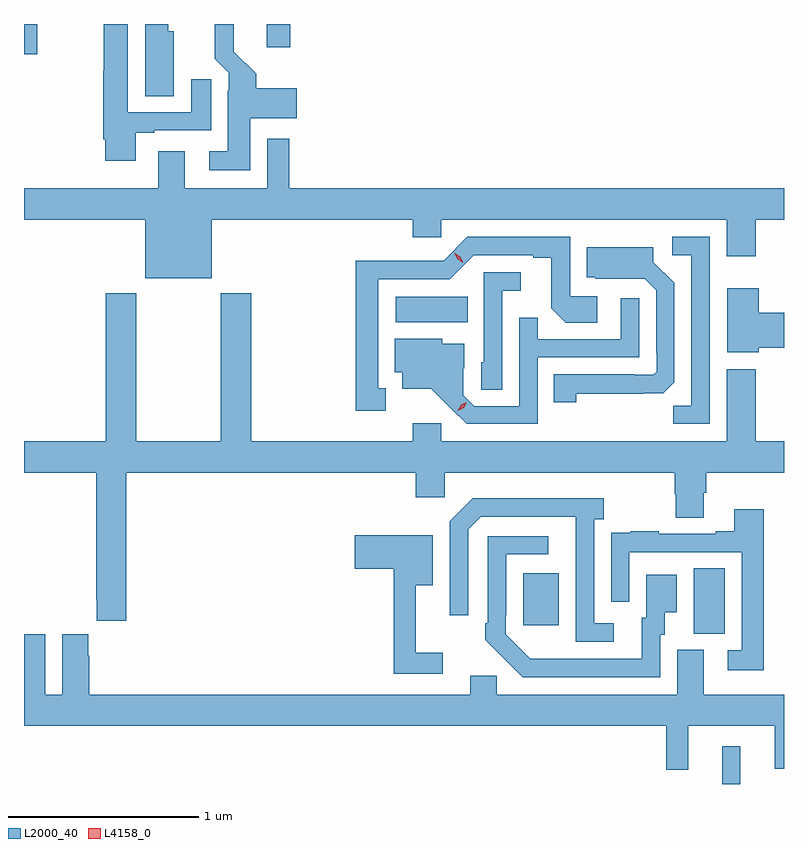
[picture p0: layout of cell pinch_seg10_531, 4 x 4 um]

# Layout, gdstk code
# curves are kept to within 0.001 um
import gdstk
lib = gdstk.Library(unit=1e-6, precision=1e-09)
def R(c, l, rs):  # rectangles x0, y0, x1, y1
    for r in rs: c.add(gdstk.rectangle(r[:2], r[2:], *l))
def P(c, l, *ps):  # polygons
    for p in ps: c.add(gdstk.Polygon(p, *l))
L2000_40 = (2000, 40)
L4158_0 = (4158, 0)

pinch_seg10_531 = lib.new_cell('pinch_seg10_531')
R(pinch_seg10_531, L2000_40, [(351.326,1261.381,351.423,1261.579), (351.176,1262.173,351.34,1262.516), (350.279,1262.217,350.467,1262.491), (349.608,1263.812,349.988,1263.946), (347.652,1265.223,347.721,1265.381), (348.929,1265.259,349.052,1265.381)])
P(pinch_seg10_531, L2000_40, [(348.844,1264.886),(349.087,1264.886),(349.087,1265.044),(348.875,1265.044),(348.875,1265.118),(348.757,1265.236),(348.757,1265.381),(348.655,1265.381),(348.655,1265.198),(348.729,1265.124),(348.729,1265.03),(348.725,1265.03),(348.725,1264.711),(348.627,1264.711),(348.627,1264.61),(348.844,1264.61)],
  [(348.241,1264.809),(348.337,1264.809),(348.337,1264.821),(348.637,1264.821),(348.637,1265.089),(348.533,1265.089),(348.533,1264.917),(348.199,1264.917),(348.199,1265.381),(348.073,1265.381),(348.073,1265.136),(348.068,1265.136),(348.068,1264.774),(348.08,1264.774),(348.08,1264.662),(348.241,1264.662)],
  [(348.439,1265.343),(348.412,1265.343),(348.412,1265.381),(348.29,1265.381),(348.29,1265.002),(348.439,1265.002)],
  [(348.64,1264.352),(349.697,1264.352),(349.697,1264.259),(349.848,1264.259),(349.848,1264.352),(351.35,1264.352),(351.35,1264.158),(351.503,1264.158),(351.503,1264.352),(351.652,1264.352),(351.652,1264.516),(349.049,1264.516),(349.049,1264.777),(348.933,1264.777),(348.933,1264.516),(348.499,1264.516),(348.499,1264.711),(348.359,1264.711),(348.359,1264.516),(347.652,1264.516),(347.652,1264.352),(348.29,1264.352),(348.29,1264.043),(348.64,1264.043)],
  [(349.555,1263.465),(349.516,1263.465),(349.516,1264.038),(349.893,1264.038),(350.019,1264.164),(350.333,1264.164),(350.333,1264.152),(350.427,1264.152),(350.427,1263.884),(350.503,1263.808),(350.668,1263.808),(350.668,1263.948),(350.526,1263.948),(350.526,1264.26),(349.986,1264.26),(349.86,1264.134),(349.638,1264.134),(349.638,1264.136),(349.398,1264.136),(349.398,1263.345),(349.555,1263.345)],
  [(351.261,1264.26),(351.063,1264.26),(351.063,1264.164),(351.165,1264.164),(351.165,1263.371),(351.07,1263.371),(351.07,1263.276),(351.261,1263.276)],
  [(350.559,1263.436),(351.016,1263.437),(351.075,1263.496),(351.075,1264.018),(350.965,1264.128),(350.965,1264.207),(350.615,1264.207),(350.615,1264.049),(350.653,1264.049),(350.662,1264.04),(350.919,1264.041),(350.979,1263.981),(350.979,1263.652),(350.982,1263.652),(350.982,1263.552),(350.964,1263.534),(350.864,1263.534),(350.864,1263.537),(350.44,1263.537),(350.44,1263.39),(350.559,1263.39)],
  [(350.169,1263.977),(350.266,1263.977),(350.266,1264.074),(350.073,1264.074),(350.073,1263.6),(350.058,1263.6),(350.058,1263.457),(350.169,1263.457)],
  [(351.52,1263.677),(351.652,1263.677),(351.652,1263.86),(351.52,1263.86),(351.52,1263.991),(351.353,1263.991),(351.353,1263.653),(351.52,1263.653)],
  [(348.191,1263.02),(349.715,1263.02),(349.715,1262.889),(349.866,1262.889),(349.866,1263.02),(351.077,1263.02),(351.077,1262.907),(351.082,1262.907),(351.082,1262.782),(351.229,1262.782),(351.229,1262.914),(351.242,1262.914),(351.242,1263.02),(351.652,1263.02),(351.652,1263.184),(351.503,1263.184),(351.503,1263.565),(351.35,1263.565),(351.35,1263.184),(349.848,1263.184),(349.848,1263.28),(349.697,1263.28),(349.697,1263.184),(348.848,1263.184),(348.848,1263.964),(348.688,1263.964),(348.688,1263.184),(348.243,1263.184),(348.243,1263.964),(348.083,1263.964),(348.083,1263.184),(347.652,1263.184),(347.652,1263.02),(348.031,1263.02),(348.031,1262.353),(348.035,1262.353),(348.035,1262.241),(348.191,1262.241)],
  [(350.355,1263.627),(350.889,1263.627),(350.889,1263.937),(350.793,1263.937),(350.793,1263.723),(350.357,1263.723),(350.357,1263.836),(350.259,1263.836),(350.259,1263.369),(350.022,1263.369),(349.965,1263.426),(349.965,1263.568),(349.969,1263.568),(349.969,1263.697),(349.854,1263.697),(349.854,1263.724),(349.604,1263.724),(349.604,1263.548),(349.643,1263.548),(349.643,1263.461),(349.795,1263.461),(349.982,1263.276),(350.355,1263.276)],
  [(350.755,1262.226),(350.652,1262.226),(350.652,1262.774),(350.704,1262.774),(350.704,1262.884),(350.014,1262.884),(349.893,1262.763),(349.893,1262.268),(349.989,1262.268),(349.989,1262.721),(350.055,1262.787),(350.555,1262.787),(350.556,1262.13),(350.755,1262.13)],
  [(351.545,1262.827),(351.389,1262.827),(351.389,1262.71),(351.293,1262.71),(351.293,1262.697),(350.993,1262.697),(350.993,1262.71),(350.845,1262.71),(350.845,1262.703),(350.743,1262.703),(350.743,1262.594),(350.742,1262.594),(350.742,1262.34),(350.838,1262.34),(350.838,1262.601),(351.429,1262.601),(351.429,1262.085),(351.357,1262.085),(351.357,1261.98),(351.545,1261.98)],
  [(349.855,1262.071),(349.715,1262.071),(349.715,1262.426),(349.804,1262.426),(349.804,1262.691),(349.392,1262.691),(349.392,1262.513),(349.597,1262.513),(349.597,1261.962),(349.855,1261.962)],
  [(351,1262.166),(351.025,1262.166),(351.025,1262.285),(351.088,1262.285),(351.088,1262.482),(350.927,1262.482),(350.927,1262.256),(350.903,1262.256),(350.903,1262.04),(350.316,1262.041),(350.187,1262.169),(350.187,1262.269),(350.19,1262.269),(350.19,1262.589),(350.41,1262.589),(350.41,1262.685),(350.094,1262.685),(350.094,1262.227),(350.079,1262.227),(350.079,1262.139),(350.276,1261.944),(351,1261.944)],
  [(351.149,1261.688),(351.602,1261.688),(351.602,1261.46),(351.652,1261.46),(351.652,1261.852),(351.229,1261.852),(351.229,1262.088),(351.089,1262.088),(351.089,1261.852),(350.139,1261.852),(350.139,1261.95),(350,1261.95),(350,1261.852),(347.996,1261.852),(347.996,1262.057),(347.989,1262.057),(347.989,1262.17),(347.852,1262.17),(347.852,1261.852),(347.764,1261.852),(347.764,1262.17),(347.652,1262.17),(347.652,1261.688),(351.031,1261.688),(351.031,1261.455),(351.149,1261.455)])
P(pinch_seg10_531, L4158_0, [(349.935,1263.346),(349.935,1263.346),(349.952,1263.376),(349.983,1263.391),(349.983,1263.391),(349.983,1263.391),(349.966,1263.361),(349.935,1263.346)],
  [(349.965,1264.124),(349.934,1264.143),(349.916,1264.176),(349.916,1264.176),(349.917,1264.176),(349.948,1264.157),(349.965,1264.124),(349.965,1264.124)])

lib.write_gds('pinch_seg10_531.gds')
